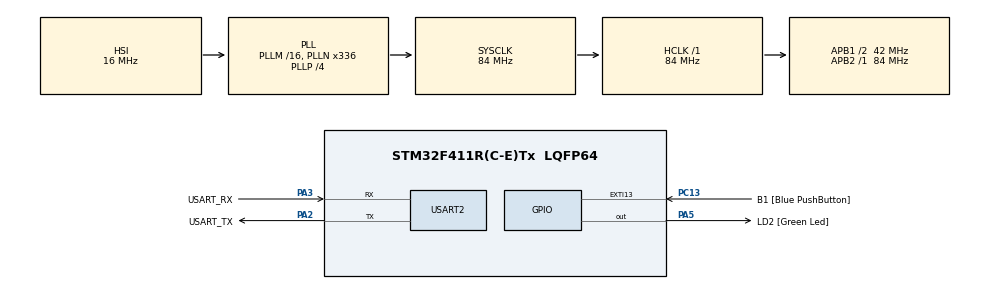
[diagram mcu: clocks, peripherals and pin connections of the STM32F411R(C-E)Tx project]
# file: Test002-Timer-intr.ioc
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Mcu.Family=STM32F4
Mcu.Name=STM32F411R(C-E)Tx
Mcu.Package=LQFP64
NVIC.PriorityGroup=NVIC_PRIORITYGROUP_0
NVIC.TIM3_IRQn=true\:0\:0\:false\:false\:true\:true\:true\:true
PA13.GPIO_Label=TMS
PA13.Mode=Serial_Wire
PA13.Signal=SYS_JTMS-SWDIO
PA14.GPIO_Label=TCK
PA14.Mode=Serial_Wire
PA14.Signal=SYS_JTCK-SWCLK
PA2.GPIO_Label=USART_TX
PA2.Mode=Asynchronous
PA2.Signal=USART2_TX
PA3.GPIO_Label=USART_RX
PA3.Mode=Asynchronous
PA3.Signal=USART2_RX
PA5.GPIO_Label=LD2 [Green Led]
PA5.Signal=GPIO_Output
PB3.GPIO_Label=SWO
PB3.Signal=SYS_JTDO-SWO
PC13-ANTI_TAMP.GPIO_Label=B1 [Blue PushButton]
PC13-ANTI_TAMP.GPIO_ModeDefaultEXTI=GPIO_MODE_IT_FALLING
PC13-ANTI_TAMP.Signal=GPXTI13
PC14-OSC32_IN.Mode=LSE-External-Oscillator
PC14-OSC32_IN.Signal=RCC_OSC32_IN
PC15-OSC32_OUT.Mode=LSE-External-Oscillator
PC15-OSC32_OUT.Signal=RCC_OSC32_OUT
PH0\ -\ OSC_IN.Mode=HSE-External-Clock-Source
PH0\ -\ OSC_IN.Signal=RCC_OSC_IN
PH1\ -\ OSC_OUT.Mode=HSE-External-Clock-Source
PH1\ -\ OSC_OUT.Signal=RCC_OSC_OUT
ProjectManager.HeapSize=0x200
ProjectManager.StackSize=0x400
ProjectManager.TargetToolchain=STM32CubeIDE
RCC.48MHZClocksFreq_Value=84000000
RCC.AHBFreq_Value=84000000
RCC.APB1CLKDivider=RCC_HCLK_DIV2
RCC.APB1Freq_Value=42000000
RCC.APB1TimFreq_Value=84000000
RCC.APB2Freq_Value=84000000
RCC.APB2TimFreq_Value=84000000
RCC.CortexFreq_Value=84000000
RCC.FLatency-AdvancedSettings=FLASH_LATENCY_2
RCC.HCLKFreq_Value=84000000
RCC.HSE_VALUE=8000000
RCC.HSI_VALUE=16000000
RCC.PLLN=336
RCC.PLLP=RCC_PLLP_DIV4
RCC.SYSCLKFreq_VALUE=84000000
RCC.SYSCLKSource=RCC_SYSCLKSOURCE_PLLCLK
RCC.VCOOutputFreq_Value=336000000
TIM3.Period=10000-1
TIM3.Prescaler=8400-1
USART2.VirtualMode=VM_ASYNC
VP_TIM3_VS_ClockSourceINT.Mode=Internal
board=NUCLEO-F411RE

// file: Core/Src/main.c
/* USER CODE BEGIN Header */
/**
  ******************************************************************************
  * @file           : main.c
  * @brief          : Main program body
  ******************************************************************************
  * @attention
  *
  * Copyright (c) 2025 STMicroelectronics.
  * All rights reserved.
  *
  * This software is licensed under terms that can be found in the LICENSE file
  * in the root directory of this software component.
  * If no LICENSE file comes with this software, it is provided AS-IS.
  *
  ******************************************************************************
  */
/* USER CODE END Header */
#include "main.h"

TIM_HandleTypeDef htim3;

UART_HandleTypeDef huart2;

void SystemClock_Config(void);
static void MX_GPIO_Init(void);
static void MX_USART2_UART_Init(void);
static void MX_TIM3_Init(void);

/* USER CODE BEGIN 0 */
int yy=0,mm=0,dd=0,h=0,m=0,s=0;
void HAL_TIM_PeriodElapsedCallback(TIM_HandleTypeDef *htim)
{
	s++;
	if(s>59)
	{
		m++;
		s=0;
		if(m>59)
		{
			h++;
			m=0;
			if(h>23)
			{
				dd++;
				h=0;
			}
		}
	}
}

/* USER CODE END 0 */

int main(void)
{

  /* MCU Configuration--------------------------------------------------------*/

  /* Reset of all peripherals, Initializes the Flash interface and the Systick. */
  HAL_Init();

  /* Configure the system clock */
  SystemClock_Config();

  /* Initialize all configured peripherals */
  MX_GPIO_Init();
  MX_USART2_UART_Init();
  MX_TIM3_Init();
  /* USER CODE BEGIN 2 */
  ProgramStart("Timer = Clock");
  HAL_TIM_Base_Start_IT(&htim3);
  /* USER CODE END 2 */

  /* Infinite loop */
  /* USER CODE BEGIN WHILE */
  while (1)
  {
	  Cursor(30,10);
	  printf("%02d:%02d:%02d",h,m,s);
    /* USER CODE END WHILE */

  }
}

void SystemClock_Config(void)
{
  RCC_OscInitTypeDef RCC_OscInitStruct = {0};
  RCC_ClkInitTypeDef RCC_ClkInitStruct = {0};

  /** Configure the main internal regulator output voltage
  */
  __HAL_RCC_PWR_CLK_ENABLE();
  __HAL_PWR_VOLTAGESCALING_CONFIG(PWR_REGULATOR_VOLTAGE_SCALE1);

  /** Initializes the RCC Oscillators according to the specified parameters
  * in the RCC_OscInitTypeDef structure.
  */
  RCC_OscInitStruct.OscillatorType = RCC_OSCILLATORTYPE_HSI;
  RCC_OscInitStruct.HSIState = RCC_HSI_ON;
  RCC_OscInitStruct.HSICalibrationValue = RCC_HSICALIBRATION_DEFAULT;
  RCC_OscInitStruct.PLL.PLLState = RCC_PLL_ON;
  RCC_OscInitStruct.PLL.PLLSource = RCC_PLLSOURCE_HSI;
  RCC_OscInitStruct.PLL.PLLM = 16;
  RCC_OscInitStruct.PLL.PLLN = 336;
  RCC_OscInitStruct.PLL.PLLP = RCC_PLLP_DIV4;
  RCC_OscInitStruct.PLL.PLLQ = 4;
  if (HAL_RCC_OscConfig(&RCC_OscInitStruct) != HAL_OK)
  {
    Error_Handler();
  }

  /** Initializes the CPU, AHB and APB buses clocks
  */
  RCC_ClkInitStruct.ClockType = RCC_CLOCKTYPE_HCLK|RCC_CLOCKTYPE_SYSCLK
                              |RCC_CLOCKTYPE_PCLK1|RCC_CLOCKTYPE_PCLK2;
  RCC_ClkInitStruct.SYSCLKSource = RCC_SYSCLKSOURCE_PLLCLK;
  RCC_ClkInitStruct.AHBCLKDivider = RCC_SYSCLK_DIV1;
  RCC_ClkInitStruct.APB1CLKDivider = RCC_HCLK_DIV2;
  RCC_ClkInitStruct.APB2CLKDivider = RCC_HCLK_DIV1;

  if (HAL_RCC_ClockConfig(&RCC_ClkInitStruct, FLASH_LATENCY_2) != HAL_OK)
  {
    Error_Handler();
  }
}

static void MX_TIM3_Init(void)
{

  TIM_ClockConfigTypeDef sClockSourceConfig = {0};
  TIM_MasterConfigTypeDef sMasterConfig = {0};

  htim3.Instance = TIM3;
  htim3.Init.Prescaler = 8400-1;
  htim3.Init.CounterMode = TIM_COUNTERMODE_UP;
  htim3.Init.Period = 10000-1;
  htim3.Init.ClockDivision = TIM_CLOCKDIVISION_DIV1;
  htim3.Init.AutoReloadPreload = TIM_AUTORELOAD_PRELOAD_DISABLE;
  if (HAL_TIM_Base_Init(&htim3) != HAL_OK)
  {
    Error_Handler();
  }
  sClockSourceConfig.ClockSource = TIM_CLOCKSOURCE_INTERNAL;
  if (HAL_TIM_ConfigClockSource(&htim3, &sClockSourceConfig) != HAL_OK)
  {
    Error_Handler();
  }
  sMasterConfig.MasterOutputTrigger = TIM_TRGO_RESET;
  sMasterConfig.MasterSlaveMode = TIM_MASTERSLAVEMODE_DISABLE;
  if (HAL_TIMEx_MasterConfigSynchronization(&htim3, &sMasterConfig) != HAL_OK)
  {
    Error_Handler();
  }

}

static void MX_USART2_UART_Init(void)
{

  huart2.Instance = USART2;
  huart2.Init.BaudRate = 115200;
  huart2.Init.WordLength = UART_WORDLENGTH_8B;
  huart2.Init.StopBits = UART_STOPBITS_1;
  huart2.Init.Parity = UART_PARITY_NONE;
  huart2.Init.Mode = UART_MODE_TX_RX;
  huart2.Init.HwFlowCtl = UART_HWCONTROL_NONE;
  huart2.Init.OverSampling = UART_OVERSAMPLING_16;
  if (HAL_UART_Init(&huart2) != HAL_OK)
  {
    Error_Handler();
  }

}

static void MX_GPIO_Init(void)
{
  GPIO_InitTypeDef GPIO_InitStruct = {0};

  /* GPIO Ports Clock Enable */
  __HAL_RCC_GPIOC_CLK_ENABLE();
  __HAL_RCC_GPIOH_CLK_ENABLE();
  __HAL_RCC_GPIOA_CLK_ENABLE();
  __HAL_RCC_GPIOB_CLK_ENABLE();

  /*Configure GPIO pin Output Level */
  HAL_GPIO_WritePin(LD2_GPIO_Port, LD2_Pin, GPIO_PIN_RESET);

  /*Configure GPIO pin : B1_Pin */
  GPIO_InitStruct.Pin = B1_Pin;
  GPIO_InitStruct.Mode = GPIO_MODE_IT_FALLING;
  GPIO_InitStruct.Pull = GPIO_NOPULL;
  HAL_GPIO_Init(B1_GPIO_Port, &GPIO_InitStruct);

  /*Configure GPIO pin : LD2_Pin */
  GPIO_InitStruct.Pin = LD2_Pin;
  GPIO_InitStruct.Mode = GPIO_MODE_OUTPUT_PP;
  GPIO_InitStruct.Pull = GPIO_NOPULL;
  GPIO_InitStruct.Speed = GPIO_SPEED_FREQ_LOW;
  HAL_GPIO_Init(LD2_GPIO_Port, &GPIO_InitStruct);

}

void Error_Handler(void)
{
  __disable_irq();
  while (1)
  {
  }
}
